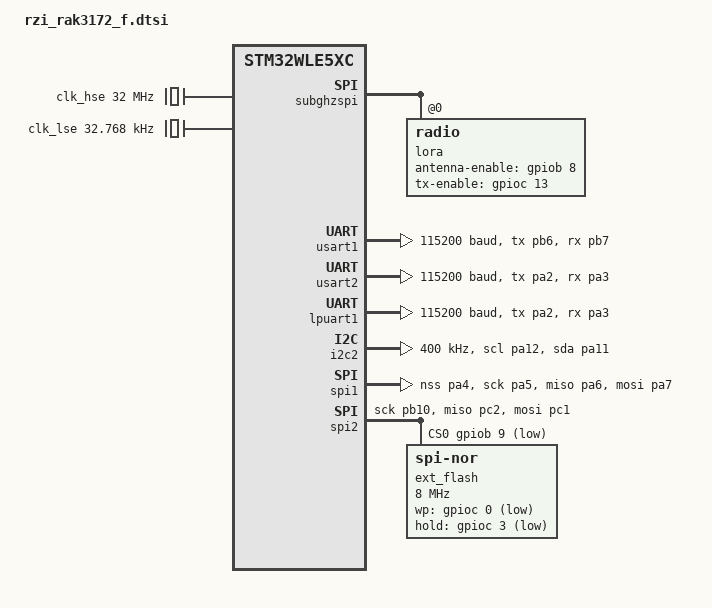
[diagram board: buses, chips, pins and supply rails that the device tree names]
/* SPDX-FileCopyrightText: Copyright (c) 2026 RAKwireless */
/* SPDX-License-Identifier: Apache-2.0 */
/*
 * RAK3172-F WisDuo module: STM32WLE5JC (UFBGA73), 32 MHz TCXO on OSC_IN
 * supplied by PB0-VDD_TCXO, 32.768 kHz crystal, and the on-chip sub-GHz
 * radio, plus the 512 KiB Macronix SPI NOR wired inside the module on SPI2.
 * USART, I2C2, and SPI1 are configured here; the carrier enables them.
 *
 * The NOR is not brought out to the pads:
 *   PB9 CS, PB10 SCK, PC1 MOSI, PC2 MISO, PC0 WP#/SIO2, PC3 HOLD#/SIO3.
 * rzi_rak3372_f maps image-1 onto this device for overwrite FUOTA.
 * PB12 is the frequency strap. Leave it unused.
 */

#include <st/wl/stm32wle5Xc.dtsi>
#include <st/wl/stm32wle5jcix-pinctrl.dtsi>
#include <zephyr/dt-bindings/lora/sx126x.h>

/*
 * Run SYSCLK directly from MSI at 48 MHz. HSE32 is the radio reference
 * TCXO on PB0-VDD_TCXO and is controlled by the SUBGHZ radio, so STOP wake
 * never depends on restarting HSE or the PLL.
 */
&clk_hse {
	clock-frequency = <DT_FREQ_M(32)>;
	hse-tcxo;
};

&clk_msi {
	status = "okay";
	msi-range = <11>;
};

&clk_lse {
	status = "okay";
	clock-frequency = <32768>;
};

&pll {
	status = "disabled";
};

&rcc {
	clocks = <&clk_msi>;
	clock-frequency = <DT_FREQ_M(48)>;
	cpu1-prescaler = <1>;
	ahb3-prescaler = <1>;
	apb1-prescaler = <1>;
	apb2-prescaler = <1>;
};

&rng {
	clocks = <&rcc STM32_CLOCK(AHB3, 18)>,
		 <&rcc STM32_SRC_MSI RNG_SEL(3)>;
};

&subghzspi {
	status = "okay";

	lora: radio@0 {
		status = "okay";
		/* RTC66006: EN stays high in TX and RX, CTR is high for TX. */
		antenna-enable-gpios = <&gpiob 8 GPIO_ACTIVE_HIGH>;
		tx-enable-gpios = <&gpioc 13 GPIO_ACTIVE_HIGH>;
		power-amplifier-output = "rfo-hp";
		rfo-hp-max-power = <22>;
		/*
		 * On STM32WL this is SET_TCXOMODE, which sets PB0-VDD_TCXO.
		 * A radio reset clears that regulator. 3.0 V is the module default.
		 */
		dio3-tcxo-voltage = <SX126X_DIO3_TCXO_3V0>;
		tcxo-power-startup-delay-ms = <10>;
	};
};

&lptim1 {
	clocks = <&rcc STM32_CLOCK(APB1, 31)>,
		 <&rcc STM32_SRC_LSE LPTIM1_SEL(3)>;
};

&rtc {
	clocks = <&rcc STM32_CLOCK(APB1, 10)>,
		 <&rcc STM32_SRC_LSE RTC_SEL(1)>;
};

&usart1 {
	pinctrl-0 = <&usart1_tx_pb6 &usart1_rx_pb7>;
	pinctrl-names = "default";
	current-speed = <115200>;
};

&usart2 {
	pinctrl-0 = <&usart2_tx_pa2 &usart2_rx_pa3>;
	pinctrl-names = "default";
	current-speed = <115200>;
};

/* RUI3 default serial: LPUART1 on PA2/PA3. Do not enable USART2 with this. */
&lpuart1 {
	pinctrl-0 = <&lpuart1_tx_pa2 &lpuart1_rx_pa3>;
	pinctrl-names = "default";
	current-speed = <115200>;
};

&i2c2 {
	pinctrl-0 = <&i2c2_scl_pa12 &i2c2_sda_pa11>;
	pinctrl-names = "default";
	scl-gpios = <&gpioa 12 GPIO_ACTIVE_HIGH>;
	sda-gpios = <&gpioa 11 GPIO_ACTIVE_HIGH>;
	clock-frequency = <I2C_BITRATE_FAST>;
};

&spi1 {
	pinctrl-0 = <&spi1_nss_pa4 &spi1_sck_pa5
		     &spi1_miso_pa6 &spi1_mosi_pa7>;
	pinctrl-names = "default";
};

/* Internal SPI NOR. CS is GPIO so the driver can frame each command. */
&spi2 {
	pinctrl-0 = <&spi2_sck_pb10 &spi2_miso_pc2 &spi2_mosi_pc1>;
	pinctrl-names = "default";
	cs-gpios = <&gpiob 9 GPIO_ACTIVE_LOW>;
	status = "okay";

	/* Label stays ext_flash so the board partition file can reference it. */
	ext_flash: flash@0 {
		compatible = "jedec,spi-nor";
		reg = <0>;
		spi-max-frequency = <8000000>;
		wp-gpios = <&gpioc 0 GPIO_ACTIVE_LOW>;
		hold-gpios = <&gpioc 3 GPIO_ACTIVE_LOW>;
		/* Binding unit is bits: 4 Mbit == 512 KiB. Observed ID: c2 23 13. */
		jedec-id = [c2 23 13];
		size = <DT_SIZE_M(4)>;
		has-dpd;
		t-enter-dpd = <10000>;
		t-exit-dpd = <35000>;
		status = "okay";
	};
};
